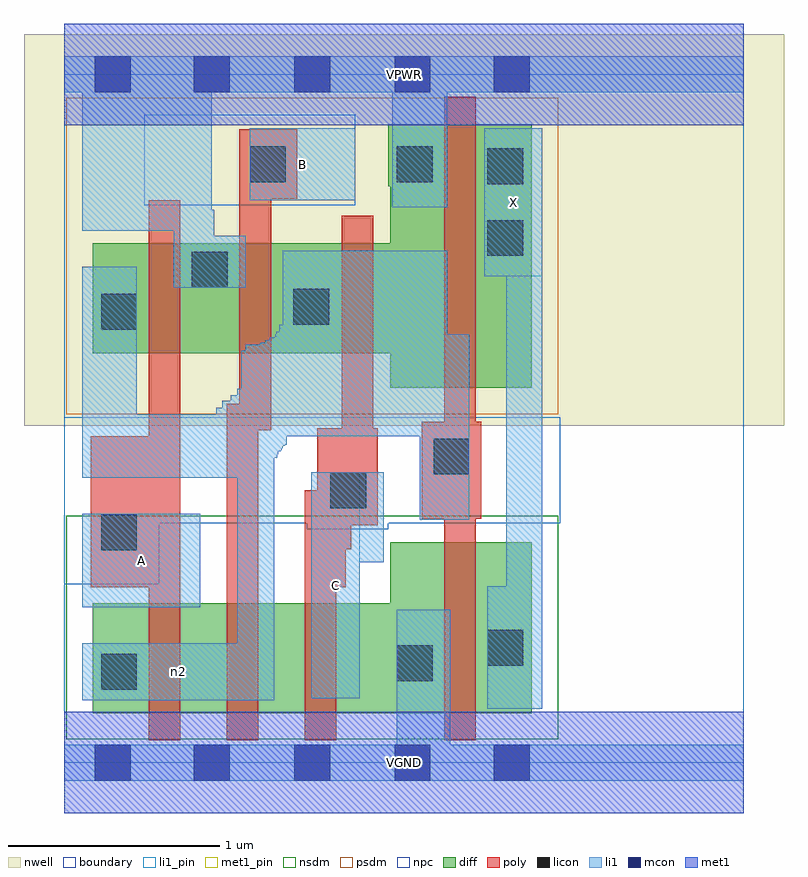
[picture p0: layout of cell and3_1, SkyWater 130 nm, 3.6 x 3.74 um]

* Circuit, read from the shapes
.subckt and3_1 A B C VGND VPWR X n2
XM1 n1 A n2 VSUBS sky130_fd_pr__nfet_01v8 w=0.52 l=0.15
XM2 n3 B n1 VSUBS sky130_fd_pr__nfet_01v8 w=0.52 l=0.15
XM3 VGND C n3 VSUBS sky130_fd_pr__nfet_01v8 w=0.52 l=0.15
XM4 X n2 VGND VSUBS sky130_fd_pr__nfet_01v8 w=0.81 l=0.15
XM5 VPWR A n2 n4 sky130_fd_pr__pfet_01v8 w=0.52 l=0.15
XM6 n2 B VPWR n4 sky130_fd_pr__pfet_01v8 w=0.52 l=0.15
XM7 VPWR C n2 n4 sky130_fd_pr__pfet_01v8 w=0.52 l=0.15
XM8 X n2 VPWR n4 sky130_fd_pr__pfet_01v8 w=1.25 l=0.15
.ends

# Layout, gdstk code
import gdstk
lib = gdstk.Library(unit=1e-6, precision=1e-09)
def R(c, l, rs):  # rectangles x0, y0, x1, y1
    for r in rs: c.add(gdstk.rectangle(r[:2], r[2:], *l))
def A(c, l, x, y, w, h, nx, ny, dx, dy):  # array of equal rectangles
    R(c, l, [(x+i*dx, y+j*dy, x+i*dx+w, y+j*dy+h) for i in range(nx) for j in range(ny)])
nwell = (64, 20)
diff = (65, 20)
poly = (66, 20)
licon = (66, 44)
li1_pin = (67, 16)
li1 = (67, 20)
mcon = (67, 44)
met1_pin = (68, 16)
met1 = (68, 20)
nsdm = (93, 44)
psdm = (94, 20)
npc = (95, 20)
boundary = (235, 4)

and3_1 = lib.new_cell('and3_1')
R(and3_1, nwell, [(-0.19,1.595,3.41,3.45), (0,1.595,3.22,3.45)])
R(and3_1, diff, [(0.135,0.235,2.215,0.755), (1.545,0.235,2.215,1.045), (1.545,1.775,2.215,3.025), (0.135,1.94,2.215,2.46), (1.535,2.73,2.215,3.025)])
R(and3_1, poly, [(0.4,0.105,0.55,2.665), (0.77,0.105,0.92,1.7), (1.14,0.105,1.29,1.29), (1.8,0.105,1.95,3.155), (0.125,0.83,0.55,1.545), (1.2,0.83,1.335,1.585), (1.2,1.01,1.36,1.585), (1.2,1.125,1.485,1.585), (1.315,1.125,1.465,2.59), (1.695,1.155,1.975,1.615), (0.83,1.575,0.98,3), (0.83,2.67,1.105,3)])
R(and3_1, licon, [(0.175,0.345,0.345,0.515), (1.575,0.385,1.745,0.555), (2.005,0.46,2.175,0.63), (0.175,1.005,0.345,1.175), (1.26,1.205,1.43,1.375), (1.75,1.365,1.92,1.535), (0.175,2.05,0.345,2.22), (1.085,2.075,1.255,2.245), (0.605,2.25,0.775,2.42), (2.005,2.4,2.175,2.57), (2.005,2.74,2.175,2.91), (0.88,2.75,1.05,2.92), (1.575,2.75,1.745,2.92)])
R(and3_1, li1_pin, [(1.17,0.305,1.4,1.375), (0.085,0.735,0.645,1.18), (1.99,2.305,2.265,3.005), (0.88,2.665,1.38,3.005)])
R(and3_1, li1, [(0,-0.085,3.22,0.085), (1.575,-0.085,1.83,0.725), (2.005,0.255,2.265,0.835), (2.095,0.255,2.265,3.005), (0.085,0.295,0.995,0.565), (0.82,0.295,0.995,1.77), (0.84,0.295,0.995,1.95), (1.17,0.305,1.4,1.375), (0.085,0.735,0.645,1.18), (1.17,0.95,1.515,1.375), (1.685,1.15,1.92,2.03), (0.085,1.35,0.345,2.35), (0.085,1.35,0.995,1.65), (0.75,1.35,0.995,1.715), (0.72,1.445,1.01,1.68), (0.72,1.46,1.015,1.68), (0.72,1.475,1.025,1.68), (0.72,1.48,1.03,1.68), (0.72,1.49,1.035,1.68), (0.72,1.5,1.045,1.68), (0.72,1.505,1.055,1.68), (0.79,1.545,1.92,1.74), (0.86,1.545,1.92,1.98), (0.93,1.545,1.92,1.99), (0.955,1.545,1.92,2), (1.005,1.545,1.815,2.04), (1.02,1.545,1.815,2.075), (1.035,1.545,1.815,2.425), (0.975,1.55,1,2.015), (1,1.645,1.065,2.03), (1,1.655,1.08,2.03), (1,1.66,1.095,2.03), (1,1.67,1.12,2.03), (0.52,2.25,0.86,2.495), (0.52,2.25,0.71,2.62), (1.99,2.305,2.265,3.005), (0.085,2.52,0.7,3.175), (1.555,2.63,1.815,3.345), (0.88,2.665,1.38,3.005), (0,3.175,3.22,3.345)])
A(and3_1, mcon, 0.615, -0.085, 0.17, 0.17, 3, 2, 0.475, 3.26)
R(and3_1, mcon, [(0.145,-0.085,0.315,0.085), (2.035,-0.085,2.205,0.085), (0.145,3.175,0.315,3.345), (2.035,3.175,2.205,3.345)])
R(and3_1, met1_pin, [(0,-0.24,3.22,0.24), (0,3.02,3.22,3.5)])
R(and3_1, met1, [(0,-0.24,3.22,0.24), (0,3.02,3.22,3.5)])
R(and3_1, nsdm, [(0.01,0.11,2.34,1.17)])
R(and3_1, psdm, [(0.01,1.65,2.34,3.15)])
R(and3_1, npc, [(0,0.845,0.45,1.635), (1.15,1.105,1.535,1.635), (0,1.135,2.35,1.635), (0.38,2.64,1.38,3.07)])
R(and3_1, boundary, [(0,0,3.22,3.26)])
and3_1.add(gdstk.Label('A', (0.365,0.957), layer=67, texttype=5))
and3_1.add(gdstk.Label('B', (1.13,2.835), layer=67, texttype=5))
and3_1.add(gdstk.Label('C', (1.285,0.84), layer=67, texttype=5))
and3_1.add(gdstk.Label('X', (2.127,2.655), layer=67, texttype=5))
and3_1.add(gdstk.Label('n2', (0.54,0.43), layer=67, texttype=5))
and3_1.add(gdstk.Label('VPWR', (1.61,3.26), layer=68, texttype=5))
and3_1.add(gdstk.Label('VGND', (1.61,0), layer=68, texttype=5))
and3_1.add(gdstk.Label('A', (0.365,0.957), layer=67, texttype=16))
and3_1.add(gdstk.Label('B', (1.13,2.835), layer=67, texttype=16))
and3_1.add(gdstk.Label('C', (1.285,0.84), layer=67, texttype=16))
and3_1.add(gdstk.Label('X', (2.127,2.655), layer=67, texttype=16))
and3_1.add(gdstk.Label('VPWR', (1.61,3.26), layer=68, texttype=16))
and3_1.add(gdstk.Label('VGND', (1.61,0), layer=68, texttype=16))

lib.write_gds('and3_1.gds')
